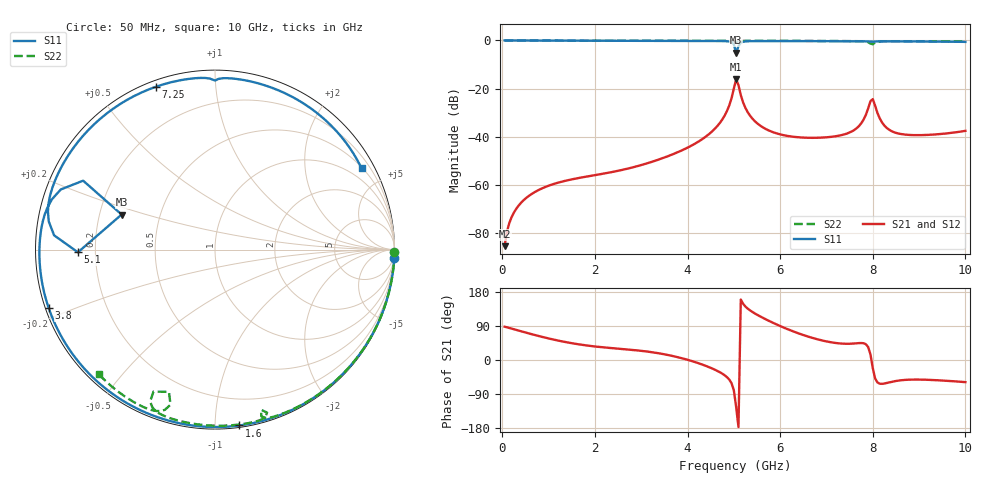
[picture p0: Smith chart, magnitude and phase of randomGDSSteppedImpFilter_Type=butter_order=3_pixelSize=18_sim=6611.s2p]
! freq	dB(S11)	phase(S11)	dB(S12)	phase(S12)
!  dB(S21)	phase(S21)	dB(S22)	phase(S22)
!S-par simulation data
#  GHz  S  DB  R 50
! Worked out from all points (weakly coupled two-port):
!   200 points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, 50 MHz to 10 GHz, reference 50 ohm
!   highest |S21| = -16.16 dB at 5.05 GHz (marker M1); lowest = -85.4 dB at 50 MHz (marker M2)
!   lowest |S11| = -5.1 dB at 5.05 GHz (marker M3), VSWR 3.50, Z = 14.7 + j8.31 ohm
!   |S11| at or under -10 dB: nowhere
!   |S22| runs from -1.6 to 0.0 dB; largest |S21 - S12| = 0
!   S11 on the Smith chart (normalised r, x): 50 MHz: 0, -41; 1.6 GHz: 0.01, -1.15; 3.8 GHz: 0.01, -0.17; 5.1 GHz: 0.13, -0.01; 7.25 GHz: 0.03, +0.70; 10 GHz: 0.54, +3.79
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0.05  -0.00 -2.8  -85.37 87.9  -85.37 87.9  -0.00 -0.8
0.3  -0.02 -16.7  -69.90 79.4  -69.90 79.4  -0.01 -4.6
0.55  -0.04 -30.2  -64.85 70.9  -64.85 70.9  -0.01 -8.5
1.6  -0.09 -82.1  -57.26 42.3  -57.26 42.3  -0.03 -24.4
1.75  -0.10 -88.6  -56.73 39.6  -56.73 39.6  -0.03 -26.6
3.4  -0.14 -148.4  -49.28 17.3  -49.28 17.3  -0.07 -50.7
3.8  -0.16 -160.6  -46.28 7.1  -46.28 7.1  -0.08 -56.4
4.7  -0.23 172.1  -34.17 -32.4  -34.17 -32.4  -0.11 -69.1
4.95  -0.70 158.7  -24.01 -61.2  -24.01 -61.2  -0.19 -73.3
5  -1.63 152.4  -19.96 -79.9  -19.96 -79.9  -0.32 -74.5
5.05  -5.10 159.4  -16.16 -124.3  -16.16 -124.3  -0.64 -74.0
5.1  -2.34 -178.9  -18.57 -177.0  -18.57 -177.0  -0.42 -72.3
5.25  -0.40 167.2  -28.00 141.0  -28.00 141.0  -0.15 -75.2
5.55  -0.26 155.9  -35.08 116.2  -35.08 116.2  -0.14 -79.6
6.7  -0.28 124.6  -40.41 58.2  -40.41 58.2  -0.19 -94.6
7.25  -0.31 109.9  -39.59 44.1  -39.59 44.1  -0.22 -101.7
7.7  -0.34 97.6  -35.56 44.6  -35.56 44.6  -0.30 -108.2
8  -0.52 89.9  -24.35 -21.4  -24.35 -21.4  -1.58 -107.9
8.15  -0.38 85.9  -32.33 -62.5  -32.33 -62.5  -0.45 -108.8
8.35  -0.37 80.0  -37.00 -59.2  -37.00 -59.2  -0.33 -112.6
8.9  -0.41 64.0  -39.29 -51.6  -39.29 -51.6  -0.34 -119.9
10  -0.60 29.0  -37.51 -58.4  -37.51 -58.4  -0.45 -133.0
